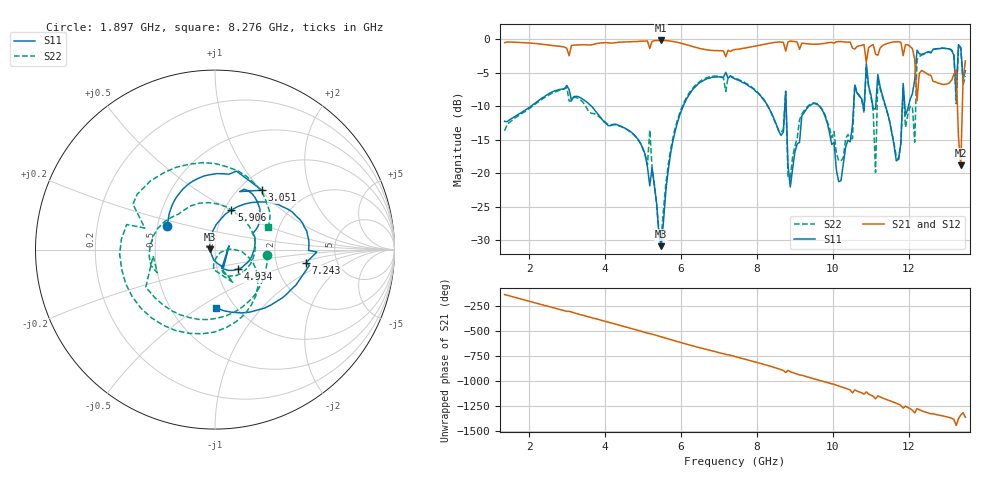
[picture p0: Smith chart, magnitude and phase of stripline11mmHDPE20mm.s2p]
!Agilent Technologies,N5230C,MY48100320,A.08.04.10
!Agilent N5230C: A.08.04.10
!Date: Thursday, August 04, 2016 04:01:41
!Correction: S11(Full 2 Port(1,2))
!S21(Full 2 Port(1,2))
!S12(Full 2 Port(1,2))
!S22(Full 2 Port(1,2))
!S2P File: Measurements: S11, S21, S12, S22:
# Hz S  dB  R 50
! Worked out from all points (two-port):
!   201 points, 1.35 GHz to 13.5 GHz, reference 50 ohm
!   highest |S21| = -0.16 dB at 5.481 GHz (marker M1); lowest = -18.8 dB at 13.38 GHz (marker M2)
!   |S21| within 3 dB of the highest: start of sweep to 10.88 GHz; 10.9 GHz to 12.17 GHz (1.27 GHz wide, 11 % of centre)
!   lowest |S11| = -30.9 dB at 5.481 GHz (marker M3), VSWR 1.06, Z = 47.2 + j0.141 ohm
!   |S11| at or under -10 dB: start of sweep to 2.042 GHz; 3.644 GHz to 6.057 GHz (2.413 GHz wide, 49.8 % of centre); 9.652 GHz to 10.55 GHz (900.2 MHz wide, 8.91 % of centre)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
!   |S22| runs from -29.5 to -1.2 dB; largest |S21 - S12| = 0.0028
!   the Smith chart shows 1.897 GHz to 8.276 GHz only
!   S11 on the Smith chart (normalised r, x): 1.897 GHz: 0.56, +0.16; 3.051 GHz: 1.26, +1.01; 4.934 GHz: 1.25, -0.28; 5.906 GHz: 1.08, +0.51; 7.243 GHz: 2.98, -0.59; 8.276 GHz: 0.82, -0.59
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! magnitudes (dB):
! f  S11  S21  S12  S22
! 1.35 GHz  -12.2  -0.5  -0.5  -13.6
! 1.897 GHz  -10.6  -0.5  -0.5  -10.7
! 3.051 GHz  -7.5  -2.4  -2.5  -9.2
! 3.416 GHz  -8.9  -0.8  -0.8  -9.4
! 4.934 GHz  -15.6  -0.3  -0.3  -15.5
! 5.42 GHz  -29.3  -0.2  -0.2  -28.6
! 5.481 GHz  -30.9  -0.2  -0.2  -29.5
! 5.906 GHz  -12.4  -0.4  -0.4  -12.1
! 7.243 GHz  -5.8  -1.6  -1.6  -5.6
! 7.425 GHz  -5.9  -1.5  -1.5  -5.8
! 8.276 GHz  -9.8  -0.6  -0.6  -9.9
! 8.762 GHz  -7.8  -1.8  -1.8  -7.8
! 8.883 GHz  -22.1  -0.2  -0.3  -20.7
! 9.491 GHz  -9.6  -0.7  -0.7  -9.5
! 10.16 GHz  -21.2  -0.3  -0.3  -18.1
! 10.89 GHz  -3.6  -3.4  -3.5  -4.2
! 11.13 GHz  -10.4  -2.2  -2.2  -19.9
! 11.19 GHz  -5.2  -2.4  -2.4  -5.8
! 11.5 GHz  -12.1  -0.5  -0.5  -12.1
! 13.26 GHz  -8.4  -4.5  -4.5  -9.6
! 13.38 GHz  -1.2  -18.8  -18.8  -1.3
! 13.5 GHz  -4.7  -3.2  -3.2  -5.5
